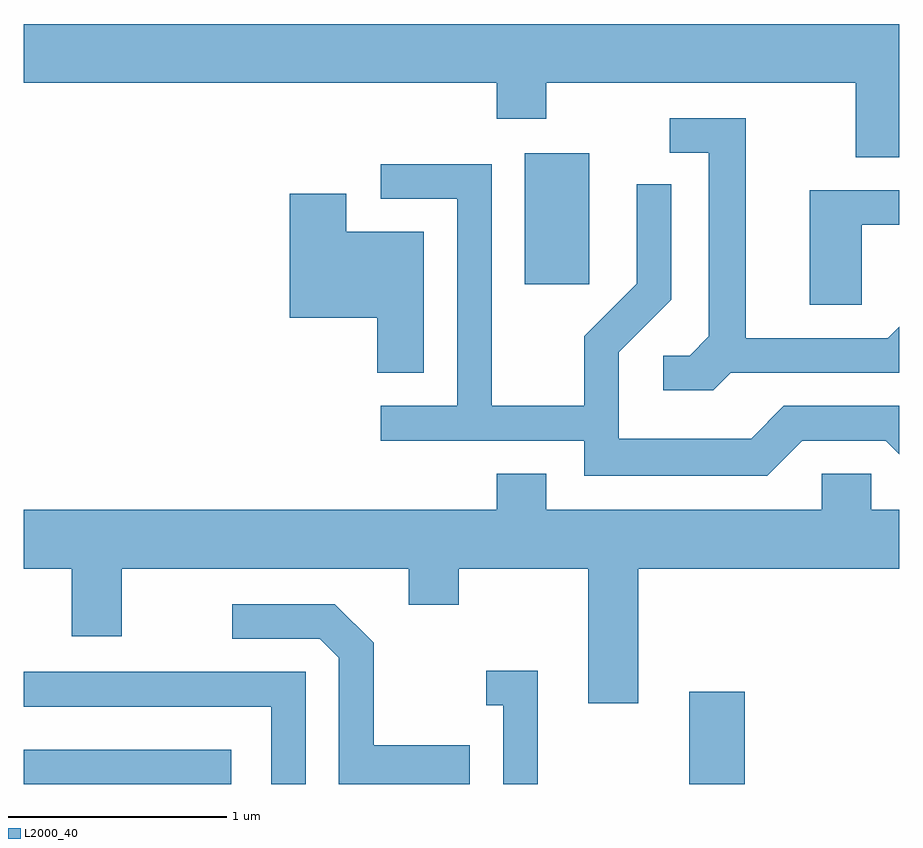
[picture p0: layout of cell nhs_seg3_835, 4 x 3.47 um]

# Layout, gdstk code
import gdstk
lib = gdstk.Library(unit=1e-6, precision=1e-09)
def R(c, l, rs):  # rectangles x0, y0, x1, y1
    for r in rs: c.add(gdstk.rectangle(r[:2], r[2:], *l))
def P(c, l, *ps):  # polygons
    for p in ps: c.add(gdstk.Polygon(p, *l))
L2000_40 = (2000, 40)

nhs_seg3_835 = lib.new_cell('nhs_seg3_835')
R(nhs_seg3_835, L2000_40, [(209.611,1153.892,210.559,1154.049), (212.651,1153.892,212.904,1154.314), (211.901,1156.176,212.194,1156.774)])
P(nhs_seg3_835, L2000_40, [(213.611,1157.364),(209.611,1157.364),(209.611,1157.096),(211.771,1157.096),(211.771,1156.931),(211.999,1156.931),(211.999,1157.096),(213.411,1157.096),(213.411,1156.756),(213.611,1156.756)],
  [(212.842,1155.771),(213.611,1155.771),(213.611,1155.982),(213.559,1155.929),(212.909,1155.929),(212.909,1156.934),(212.563,1156.934),(212.563,1156.776),(212.741,1156.776),(212.741,1155.937),(212.654,1155.849),(212.533,1155.849),(212.533,1155.691),(212.762,1155.691)],
  [(213.167,1155.461),(213.549,1155.461),(213.611,1155.399),(213.611,1155.619),(213.084,1155.619),(212.934,1155.469),(212.329,1155.469),(212.329,1155.864),(212.569,1156.104),(212.569,1156.633),(212.411,1156.633),(212.411,1156.177),(212.171,1155.937),(212.171,1155.619),(211.749,1155.619),(211.749,1156.724),(211.243,1156.724),(211.243,1156.566),(211.591,1156.566),(211.591,1155.619),(211.243,1155.619),(211.243,1155.461),(212.171,1155.461),(212.171,1155.301),(213.007,1155.301)],
  [(213.439,1156.446),(213.611,1156.446),(213.611,1156.604),(213.201,1156.604),(213.201,1156.081),(213.439,1156.081)],
  [(211.439,1156.414),(211.084,1156.414),(211.084,1156.589),(210.826,1156.589),(210.826,1156.021),(211.226,1156.021),(211.226,1155.771),(211.439,1155.771)],
  [(212.419,1154.876),(213.611,1154.876),(213.611,1155.144),(213.484,1155.144),(213.484,1155.309),(213.256,1155.309),(213.256,1155.144),(211.999,1155.144),(211.999,1155.309),(211.771,1155.309),(211.771,1155.144),(209.611,1155.144),(209.611,1154.876),(209.831,1154.876),(209.831,1154.566),(210.059,1154.566),(210.059,1154.876),(211.371,1154.876),(211.371,1154.711),(211.599,1154.711),(211.599,1154.876),(212.191,1154.876),(212.191,1154.261),(212.419,1154.261)],
  [(211.649,1154.069),(211.209,1154.069),(211.209,1154.537),(211.032,1154.714),(210.563,1154.714),(210.563,1154.556),(210.964,1154.556),(211.051,1154.469),(211.051,1153.892),(211.649,1153.892)],
  [(211.959,1154.409),(211.723,1154.409),(211.723,1154.251),(211.801,1154.251),(211.801,1153.892),(211.959,1153.892)],
  [(210.899,1154.404),(209.611,1154.404),(209.611,1154.246),(210.741,1154.246),(210.741,1153.892),(210.899,1153.892)])

lib.write_gds('nhs_seg3_835.gds')
